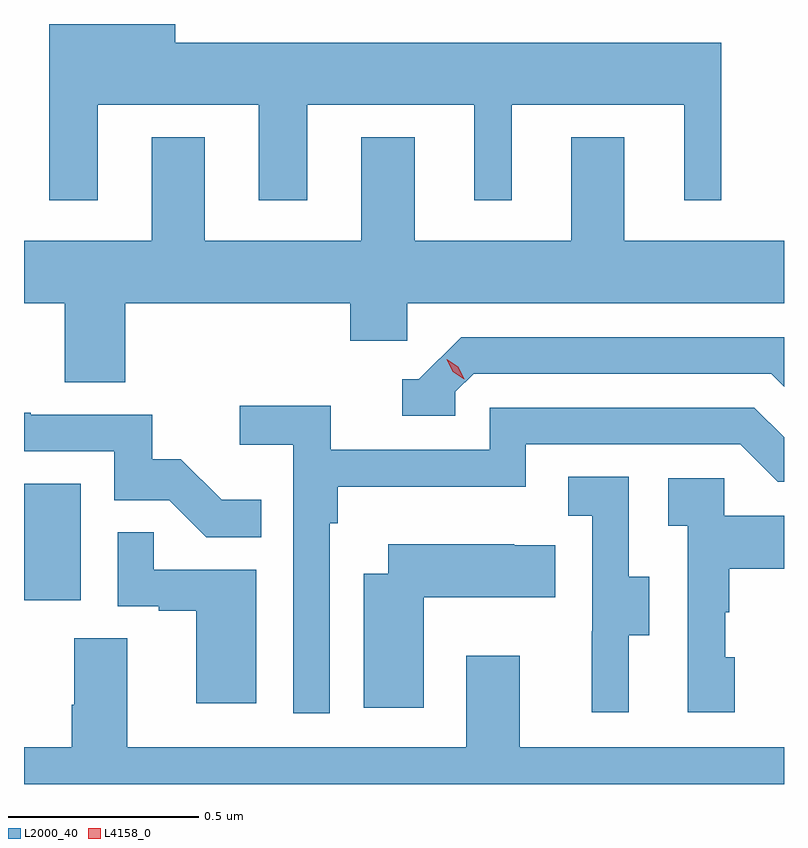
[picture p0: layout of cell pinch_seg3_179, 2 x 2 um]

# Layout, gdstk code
import gdstk
lib = gdstk.Library(unit=1e-6, precision=1e-09)
def R(c, l, rs):  # rectangles x0, y0, x1, y1
    for r in rs: c.add(gdstk.rectangle(r[:2], r[2:], *l))
def P(c, l, *ps):  # polygons
    for p in ps: c.add(gdstk.Polygon(p, *l))
L2000_40 = (2000, 40)
L4158_0 = (4158, 0)

pinch_seg3_179 = lib.new_cell('pinch_seg3_179')
R(pinch_seg3_179, L2000_40, [(1004.495,732.102,1004.644,732.409)])
P(pinch_seg3_179, L2000_40, [(1004.689,733.406),(1005.113,733.406),(1005.113,733.155),(1005.241,733.155),(1005.241,733.406),(1005.68,733.406),(1005.68,733.155),(1005.778,733.155),(1005.778,733.406),(1006.232,733.406),(1006.232,733.155),(1006.33,733.155),(1006.33,733.57),(1004.893,733.57),(1004.893,733.619),(1004.561,733.619),(1004.561,733.155),(1004.689,733.155)],
  [(1004.762,732.884),(1005.353,732.884),(1005.353,732.786),(1005.504,732.786),(1005.504,732.884),(1006.495,732.884),(1006.495,733.048),(1006.075,733.048),(1006.075,733.321),(1005.935,733.321),(1005.935,733.048),(1005.523,733.048),(1005.523,733.321),(1005.383,733.321),(1005.383,733.048),(1004.971,733.048),(1004.971,733.321),(1004.831,733.321),(1004.831,733.048),(1004.495,733.048),(1004.495,732.884),(1004.602,732.884),(1004.602,732.676),(1004.762,732.676)],
  [(1005.63,732.651),(1005.678,732.699),(1006.461,732.699),(1006.495,732.665),(1006.495,732.795),(1005.645,732.795),(1005.534,732.684),(1005.491,732.684),(1005.491,732.588),(1005.63,732.588)],
  [(1005.3,732.305),(1005.32,732.305),(1005.32,732.401),(1005.816,732.401),(1005.816,732.513),(1006.38,732.513),(1006.479,732.414),(1006.495,732.414),(1006.495,732.531),(1006.417,732.609),(1005.72,732.609),(1005.72,732.498),(1005.302,732.498),(1005.302,732.614),(1005.063,732.614),(1005.063,732.512),(1005.204,732.512),(1005.204,731.805),(1005.3,731.805)],
  [(1005.119,732.367),(1005.015,732.367),(1004.908,732.474),(1004.832,732.474),(1004.832,732.591),(1004.513,732.591),(1004.513,732.596),(1004.495,732.596),(1004.495,732.495),(1004.733,732.495),(1004.733,732.366),(1004.877,732.366),(1004.975,732.268),(1005.119,732.268)],
  [(1006.087,732.01),(1006.141,732.01),(1006.141,732.165),(1006.086,732.165),(1006.086,732.428),(1005.927,732.428),(1005.927,732.325),(1005.99,732.325),(1005.99,732.021),(1005.989,732.021),(1005.989,731.808),(1006.087,731.808)],
  [(1006.366,731.952),(1006.341,731.952),(1006.341,732.071),(1006.351,732.071),(1006.351,732.185),(1006.495,732.185),(1006.495,732.325),(1006.338,732.325),(1006.338,732.423),(1006.191,732.423),(1006.191,732.299),(1006.242,732.299),(1006.242,731.808),(1006.366,731.808)],
  [(1005.106,732.183),(1004.837,732.183),(1004.837,732.281),(1004.742,732.281),(1004.742,732.087),(1004.849,732.087),(1004.849,732.075),(1004.948,732.075),(1004.948,731.832),(1005.106,731.832)],
  [(1005.547,732.11),(1005.893,732.11),(1005.893,732.247),(1005.785,732.247),(1005.785,732.25),(1005.453,732.25),(1005.453,732.172),(1005.389,732.172),(1005.389,731.82),(1005.547,731.82)],
  [(1006.495,731.716),(1005.799,731.716),(1005.799,731.956),(1005.659,731.956),(1005.659,731.716),(1004.767,731.716),(1004.767,732.002),(1004.627,732.002),(1004.627,731.828),(1004.62,731.828),(1004.62,731.716),(1004.495,731.716),(1004.495,731.619),(1006.495,731.619)])
P(pinch_seg3_179, L4158_0, [(1005.653,732.684),(1005.623,732.704),(1005.607,732.737),(1005.607,732.737),(1005.607,732.737),(1005.638,732.717),(1005.654,732.685),(1005.654,732.684)])

lib.write_gds('pinch_seg3_179.gds')
